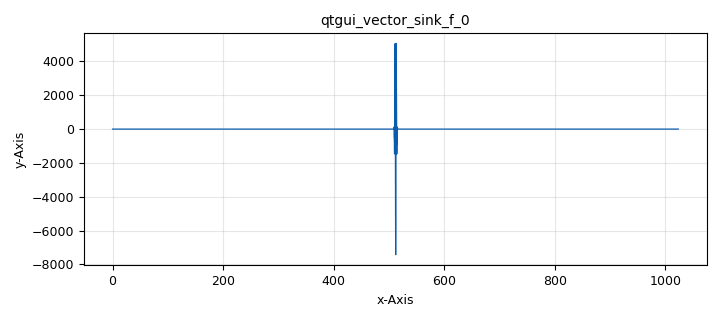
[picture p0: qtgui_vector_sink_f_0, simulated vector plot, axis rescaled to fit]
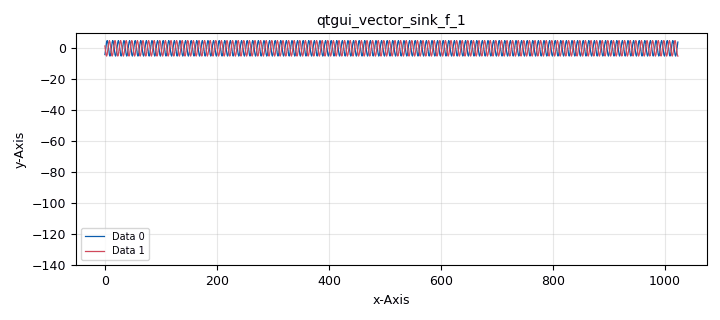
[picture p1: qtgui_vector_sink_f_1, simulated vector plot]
options:
  parameters:
    author: popikeyshen
    generate_options: qt_gui
    id: top
    output_language: python
    title: top
  states: {}

blocks:
- name: sample_rate
  id: variable
  parameters:
    value: '10000'
  states: {}
- name: analog_sig_source_x_0
  id: analog_sig_source_x
  parameters:
    amp: '5'
    freq: 1e3
    offset: '0'
    phase: '0'
    samp_rate: sample_rate
    type: complex
    waveform: analog.GR_SIN_WAVE
  states: {}
- name: blocks_complex_to_real_0_0
  id: blocks_complex_to_real
  parameters:
    vlen: '1024'
  states: {}
- name: blocks_complex_to_real_0_0_0
  id: blocks_complex_to_real
  parameters:
    vlen: '1024'
  states: {}
- name: blocks_complex_to_real_0_0_0_0
  id: blocks_complex_to_real
  parameters:
    vlen: '1024'
  states: {}
- name: blocks_delay_0
  id: blocks_delay
  parameters:
    delay: '4'
    type: complex
  states: {}
- name: blocks_multiply_conjugate_cc_0
  id: blocks_multiply_conjugate_cc
  parameters:
    vlen: '1024'
  states: {}
- name: blocks_stream_to_vector_0
  id: blocks_stream_to_vector
  parameters:
    num_items: '1024'
    type: complex
  states: {}
- name: blocks_stream_to_vector_0_0
  id: blocks_stream_to_vector
  parameters:
    num_items: '1024'
    type: complex
  states: {}
- name: fft_vxx_0_0
  id: fft_vxx
  parameters:
    fft_size: '1024'
    forward: 'True'
    shift: 'True'
    type: complex
    window: window.blackmanharris(1024)
  states: {}
- name: qtgui_vector_sink_f_0
  id: qtgui_vector_sink_f
  parameters:
    vlen: '1024'
    x_start: '0'
    x_step: '1.0'
  states: {}
- name: qtgui_vector_sink_f_1
  id: qtgui_vector_sink_f
  parameters:
    nconnections: '2'
    vlen: '1024'
    x_start: '0'
    x_step: '1.0'
  states: {}

connections:
- [analog_sig_source_x_0, '0', blocks_delay_0, '0']
- [analog_sig_source_x_0, '0', blocks_stream_to_vector_0, '0']
- [blocks_complex_to_real_0_0, '0', qtgui_vector_sink_f_0, '0']
- [blocks_complex_to_real_0_0_0, '0', qtgui_vector_sink_f_1, '0']
- [blocks_complex_to_real_0_0_0_0, '0', qtgui_vector_sink_f_1, '1']
- [blocks_delay_0, '0', blocks_stream_to_vector_0_0, '0']
- [blocks_multiply_conjugate_cc_0, '0', fft_vxx_0_0, '0']
- [blocks_stream_to_vector_0, '0', blocks_complex_to_real_0_0_0, '0']
- [blocks_stream_to_vector_0, '0', blocks_multiply_conjugate_cc_0, '0']
- [blocks_stream_to_vector_0_0, '0', blocks_complex_to_real_0_0_0_0, '0']
- [blocks_stream_to_vector_0_0, '0', blocks_multiply_conjugate_cc_0, '1']
- [fft_vxx_0_0, '0', blocks_complex_to_real_0_0, '0']

metadata:
  file_format: 1
